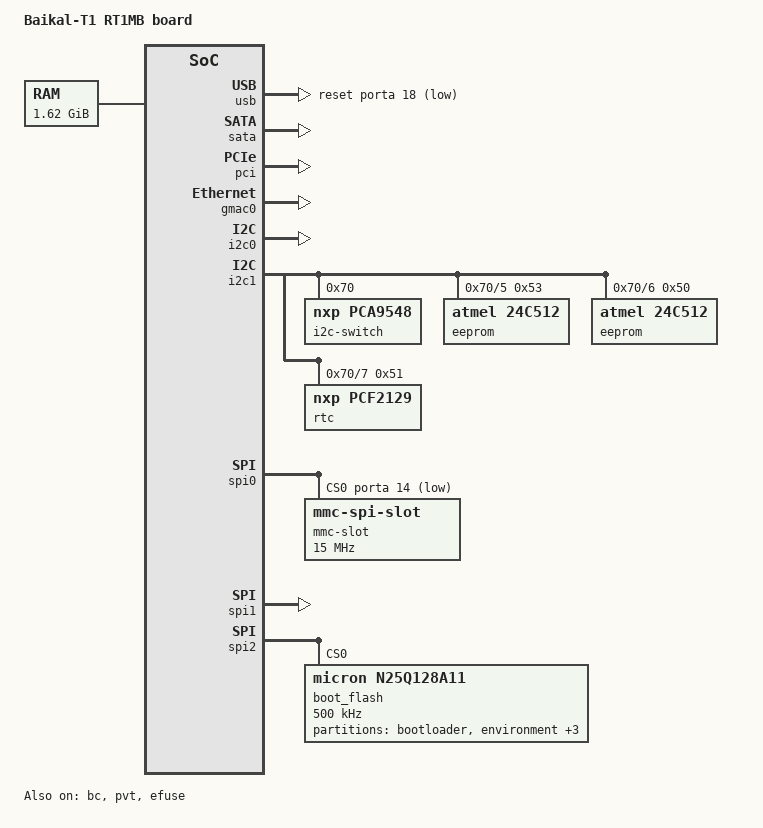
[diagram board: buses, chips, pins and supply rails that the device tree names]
/*
 * Baikal-T1 RT1MB board device tree
 *
 * Copyright (C) 2018 T-platforms JSC
 *
 * This program is free software; you can redistribute it and/or
 * modify it under the terms of the GNU General Public License
 * as published by the Free Software Foundation; either version 2
 * of the License, or (at your option) any later version.
 */

/dts-v1/;

#include <dt-bindings/interrupt-controller/mips-gic.h>
#include <dt-bindings/gpio/gpio.h>

#include  "baikal_t1_soc.dtsi"
#include  "baikal_mdio.dtsi"

/ {
	model = "Baikal-T1 RT1MB board";
	compatible = "baikal,mips", "baikal,baikal-t1-soc", "tplatforms,baikal-rt1mb-board";

	chosen {
		bootargs = "root=/dev/ram rw console=ttyS0,115200 earlyprintk=uart8250,mmio32,0x1F04A000,115200 nohtw";
		linux,initrd-start = <0 0x01000000>;
		linux,initrd-end   = <0 0x02000000>;
	};

	memory {
		device_type = "memory";
		reg = <0 0x00000000 0 0x08000000>,
		      <0 0x20000000 0 0x60000000>;
	};
};

&usb {
	status = "okay";

	reset-gpio = <&porta 18 GPIO_ACTIVE_LOW>;
};

&sata {
	status = "okay";
};

&pci {
	status = "okay";
};

&gmac0 {
	status = "okay";
};

&gpio {
	status = "okay";
};

&gpio3 {
	status = "okay";
};

&bc {
	status = "okay";
};

&i2c0 {
	status = "okay";
};

&i2c1 {
	status = "okay";

	i2c-switch@70 {
		compatible = "nxp,pca9548";
		reg = <0x70>;
		#address-cells = <1>;
		#size-cells = <0>;

		i2c@5 {
			#address-cells = <1>;
			#size-cells = <0>;
			reg = <5>;

			eeprom@53 {
				compatible = "atmel,24c512";
				reg = <0x53>;
				pagesize = <128>;
			};
		};

		i2c@6 {
			#address-cells = <1>;
			#size-cells = <0>;
			reg = <6>;
			eeprom@50 {
				compatible = "atmel,24c512";
				reg = <0x50>;
				pagesize = <128>;
			};
		};

		i2c@7 {
			#address-cells = <1>;
			#size-cells = <0>;
			reg = <7>;
			rtc@51 {
				compatible = "nxp,pcf2129", "nxp,pcf2127";
				reg = <0x51>;
			};
		};
	};
};

&spi0 {
	status = "okay";
	num-cs = <2>;
	cs-gpios = <&porta 14 GPIO_ACTIVE_LOW>, <0>;

	mmc-slot@0 {
		compatible = "mmc-spi-slot";
		reg = <0>;
		voltage-ranges = <2000 3600>;
		spi-max-frequency = <15000000>;
		/* Card-Detect GPIO (not working at the moment) */
		/* gpios = <&porta 15 GPIO_ACTIVE_LOW>; */
	};
};

&spi1 {
	status = "okay";
	num-cs = <1>;
};

&spi2 {
	status = "okay";
	num-cs = <1>;

	boot_flash: n25q128a11@0 {
		#address-cells = <1>;
		#size-cells = <1>;
		compatible = "micron,n25q128a11", "jedec,spi-nor";
		reg = <0>;
		spi-max-frequency = <500000>;
		m25p,fast-read;

		partition@0 {
			label = "bootloader";
			reg = <0x0 0xE0000>;
			read-only;
		};

		partition@1 {
			label = "environment";
			reg = <0xE0000 0x10000>;
		};

		partition@2 {
			label = "information";
			reg = <0xF0000 0x10000>;
			read-only;
		};

		partition@3 {
			label = "multiimage";
			reg = <0x100000 0xF00000>;
			read-only;
		};

		partition@4 {
			label = "firmware";
			reg = <0x0 0x1000000>;
		};
	};
};

&pvt {
	status = "okay";
};

&efuse {
	status = "okay";
};
